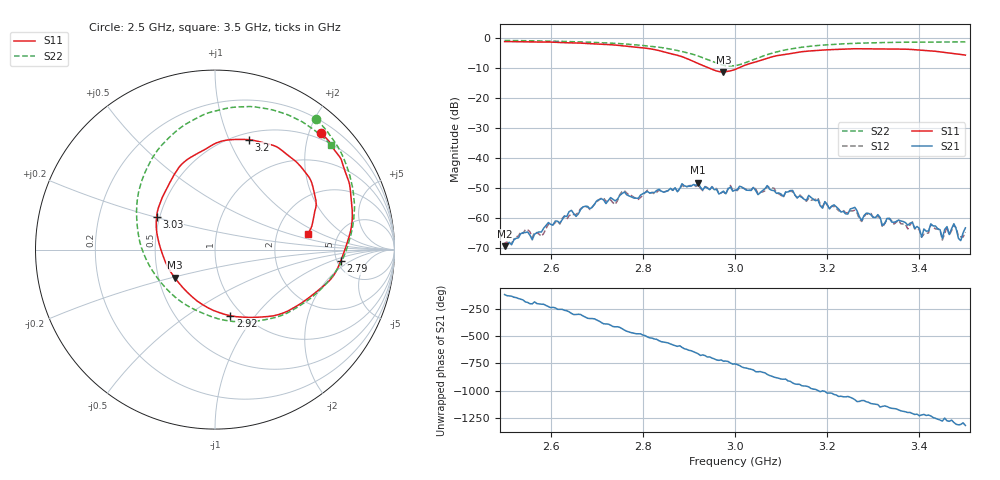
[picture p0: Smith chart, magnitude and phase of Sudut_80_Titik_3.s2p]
# Hz S RI R 50
! CMT, C1220, 16058040, 17.2.0/1
! Date: 15/08/2018 10:40:33
! Data: Format (Calibration Info)
! Freq  S11: Re/Im (F2)  S21: Re/Im (F2)  S12: Re/Im (F2)  S22: Re/Im (F2)
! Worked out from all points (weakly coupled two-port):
!   201 points, 2.5 GHz to 3.5 GHz, reference 50 ohm
!   highest |S21| = -48.32 dB at 2.92 GHz (marker M1); lowest = -69.6 dB at 2.5 GHz (marker M2)
!   lowest |S11| = -11.3 dB at 2.975 GHz (marker M3), VSWR 1.75, Z = 30.4 - j10.3 ohm
!   |S11| at or under -10 dB: 2.945 GHz to 3.007 GHz (62.23 MHz wide, 2.09 % of centre)
!   |S22| runs from -9.2 to -0.7 dB; largest |S21 - S12| = 0.00032
!   S11 on the Smith chart (normalised r, x): 2.5 GHz: 0.38, +2.21; 2.79 GHz: 5.37, -1.38; 2.92 GHz: 0.88, -0.76; 3.03 GHz: 0.48, +0.20; 3.2 GHz: 0.57, +1.19; 3.5 GHz: 3.01, +0.70
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2.5e9  0.5931 0.6497  -0.00014 -0.000302  -0.000165 -0.000338  0.5642 0.7253
2.58e9  0.6892 0.5242  -0.000527 0.00023  -0.000431 0.000226  0.6527 0.6197
2.67e9  0.7531 0.3396  0.00101 0.00112  0.00105 0.00106  0.7386 0.4517
2.74e9  0.7596 0.125  0.00117 -0.0015  0.00111 -0.00124  0.7754 0.2725
2.76e9  0.7412 0.0526  0.00035 -0.00266  0.000451 -0.00278  0.7759 0.21
2.79e9  0.6999 -0.0649  -0.000922 -0.00189  -0.000936 -0.00178  0.7627 0.1071
2.835e9  0.5814 -0.2222  -0.00297 6.21e-06  -0.00288 -6.2e-05  0.7051 -0.0659
2.92e9  0.0863 -0.3687  0.00193 0.00332  0.00177 0.00307  0.3338 -0.3789
2.975e9  -0.2239 -0.1564  0.00275 -0.000413  0.00268 -0.000369  -0.1012 -0.3399
3e9  -0.3007 -0.00207  0.00239 -0.0016  0.00233 -0.00171  -0.278 -0.21
3.03e9  -0.3256 0.1807  0.000562 -0.00281  0.000599 -0.00287  -0.4098 0.011
3.17e9  0.09 0.6123  -0.000143 0.00203  -0.000298 0.00197  -0.0885 0.7395
3.2e9  0.1898 0.6121  0.000923 0.00139  0.000935 0.00133  0.0211 0.7767
3.32e9  0.4695 0.4717  0.000312 -0.000667  0.000288 -0.000624  0.3608 0.7662
3.335e9  0.4921 0.4447  0.000217 -0.000948  0.000133 -0.000961  0.3933 0.7555
3.385e9  0.5451 0.3505  -0.000545 -0.000628  -0.000555 -0.00064  0.4893 0.7102
3.405e9  0.5567 0.2993  -0.000381 -0.000278  -0.000414 -0.000221  0.5203 0.6884
3.425e9  0.5639 0.2518  -0.000698 -0.00035  -0.000712 -0.000326  0.5504 0.6684
3.45e9  0.5532 0.1968  -0.000419 0.00016  -0.00041 0.000101  0.5866 0.6395
3.46e9  0.548 0.1701  -0.000673 0.000218  -0.000657 0.00023  0.5991 0.6294
3.49e9  0.5262 0.1029  -0.000255 0.000324  -0.000269 0.000393  0.6348 0.5936
3.5e9  0.5158 0.0843  -0.000327 0.000588  -0.000258 0.000513  0.6457 0.5824
